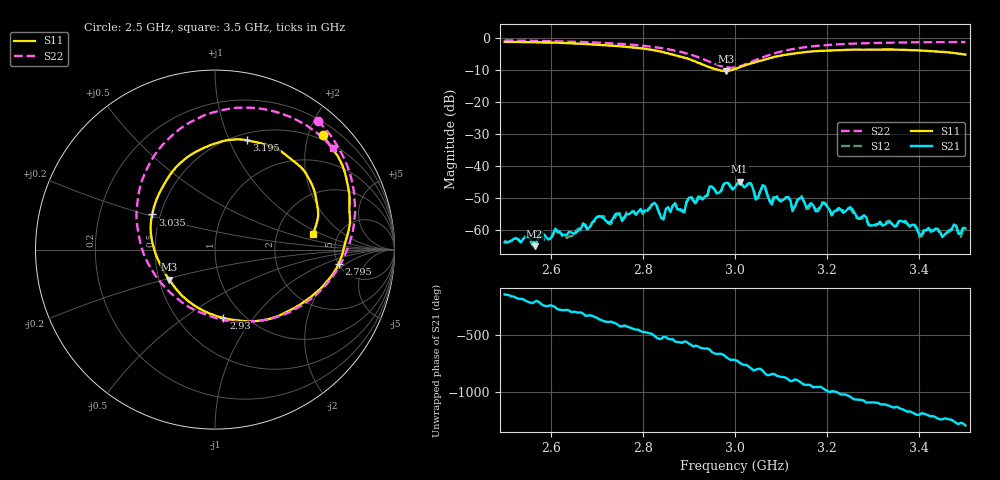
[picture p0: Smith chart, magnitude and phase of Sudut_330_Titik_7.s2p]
# Hz S RI R 50
! CMT, C1220, 16058040, 17.2.0/1
! Date: 15/08/2018 10:11:47
! Data: Format (Calibration Info)
! Freq  S11: Re/Im (F2)  S21: Re/Im (F2)  S12: Re/Im (F2)  S22: Re/Im (F2)
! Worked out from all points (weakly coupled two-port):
!   201 points, 2.5 GHz to 3.5 GHz, reference 50 ohm
!   highest |S21| = -44.87 dB at 3.01 GHz (marker M1); lowest = -65.0 dB at 2.565 GHz (marker M2)
!   lowest |S11| = -10.3 dB at 2.98 GHz (marker M3), VSWR 1.88, Z = 28.3 - j10.5 ohm
!   |S11| at or under -10 dB: 2.965 GHz to 2.992 GHz (27.34 MHz wide, 0.918 % of centre)
!   |S22| runs from -9.3 to -0.7 dB; largest |S21 - S12| = 0.0004
!   S11 on the Smith chart (normalised r, x): 2.5 GHz: 0.42, +2.25; 2.795 GHz: 5.04, -1.54; 2.93 GHz: 0.81, -0.72; 3.035 GHz: 0.45, +0.21; 3.195 GHz: 0.57, +1.16; 3.5 GHz: 3.24, +0.81
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2.5e9  0.5998 0.6363  -0.000514 -0.000385  -0.000569 -0.000395  0.5729 0.7167
2.565e9  0.669 0.5427  -0.000501 0.000252  -0.000466 0.000368  0.6457 0.6338
2.58e9  0.6864 0.5164  -0.000635 0.000707  -0.000508 0.000589  0.6616 0.6105
2.67e9  0.7476 0.3166  0.000785 0.000967  0.000916 0.000893  0.7456 0.443
2.795e9  0.6891 -0.0793  -0.00048 -0.00208  -0.000559 -0.00196  0.7617 0.0775
2.835e9  0.5831 -0.222  -0.00189 -0.000324  -0.00183 -0.000403  0.7023 -0.0754
2.93e9  0.0464 -0.3811  -0.000886 0.00291  -0.00107 0.00282  0.2587 -0.3948
2.98e9  -0.2548 -0.1678  0.00463 0.00293  0.00446 0.00303  -0.1395 -0.3236
3e9  -0.327 -0.0328  0.00468 0.000426  0.00461 0.000189  -0.2764 -0.2132
3.01e9  -0.3477 0.0345  0.00535 -0.00199  0.00511 -0.00176  -0.3325 -0.1441
3.035e9  -0.3496 0.1956  0.00183 -0.00498  0.00189 -0.00496  -0.4191 0.0511
3.045e9  -0.3339 0.2558  0.000414 -0.00297  0.00047 -0.0032  -0.433 0.1305
3.06e9  -0.2957 0.3423  6.86e-05 -0.00503  -0.000162 -0.00485  -0.4335 0.2494
3.08e9  -0.2351 0.4379  -0.00124 -0.00219  -0.00133 -0.00241  -0.4044 0.391
3.17e9  0.0969 0.6128  -0.00134 0.00202  -0.00147 0.00189  -0.0757 0.7409
3.195e9  0.1769 0.6088  -0.000611 0.00253  -0.000485 0.00262  0.0173 0.7712
3.21e9  0.2219 0.6001  -2.37e-05 0.00174  0.000143 0.00169  0.0719 0.7828
3.25e9  0.3304 0.5688  0.00169 0.00153  0.00175 0.00126  0.1986 0.7903
3.29e9  0.4143 0.5116  0.00119 -0.00019  0.00118 -0.000182  0.3065 0.7751
3.335e9  0.4926 0.4437  0.00106 -0.000806  0.00103 -0.000957  0.4079 0.7434
3.4e9  0.5558 0.3191  -0.000353 -0.000755  -0.000373 -0.00068  0.5259 0.6802
3.5e9  0.5452 0.0867  -0.000928 0.000521  -0.000839 0.000464  0.6575 0.5639
